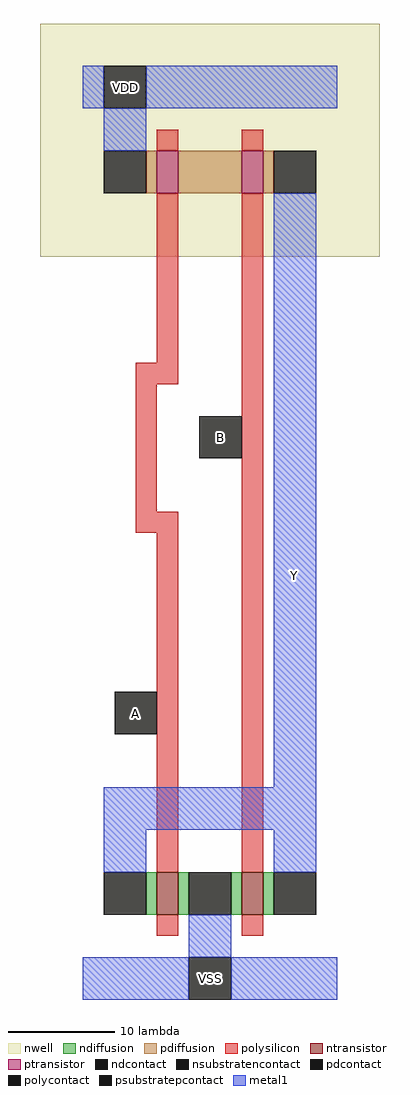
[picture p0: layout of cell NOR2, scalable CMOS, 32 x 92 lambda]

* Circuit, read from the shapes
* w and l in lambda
.subckt NOR2 A B VDD VSS Y
M1 VSS A Y VSS nfet w=4 l=2
M2 Y B VSS VSS nfet w=4 l=2
M3 n1 A VDD VDD pfet w=4 l=2
M4 Y B n1 VDD pfet w=4 l=2
.ends

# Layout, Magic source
magic
tech scmos
<< nwell >>
rect -4 70 28 92
<< ntransistor >>
rect 7 8 9 12
rect 15 8 17 12
<< ptransistor >>
rect 7 76 9 80
rect 15 76 17 80
<< ndiffusion >>
rect 6 8 7 12
rect 9 8 10 12
rect 14 8 15 12
rect 17 8 18 12
<< pdiffusion >>
rect 6 76 7 80
rect 9 76 15 80
rect 17 76 18 80
<< ndcontact >>
rect 2 8 6 12
rect 10 8 14 12
rect 18 8 22 12
<< pdcontact >>
rect 2 76 6 80
rect 18 76 22 80
<< psubstratepcontact >>
rect 10 0 14 4
<< nsubstratencontact >>
rect 2 84 6 88
<< polysilicon >>
rect 7 80 9 82
rect 15 80 17 82
rect 7 60 9 76
rect 5 58 9 60
rect 5 46 7 58
rect 5 44 9 46
rect 7 12 9 44
rect 15 12 17 76
rect 7 6 9 8
rect 15 6 17 8
<< polycontact >>
rect 11 51 15 55
rect 3 25 7 29
<< metal1 >>
rect 0 84 2 88
rect 6 84 24 88
rect 2 80 6 84
rect 18 20 22 76
rect 2 16 22 20
rect 2 12 6 16
rect 18 12 22 16
rect 10 4 14 8
rect 0 0 10 4
rect 14 0 24 4
<< labels >>
rlabel nsubstratencontact 4 86 4 86 1 VDD
rlabel psubstratepcontact 12 2 12 2 1 VSS
rlabel polycontact 5 27 5 27 1 A
rlabel polycontact 13 53 13 53 1 B
rlabel metal1 20 40 20 40 1 Y
<< end >>
